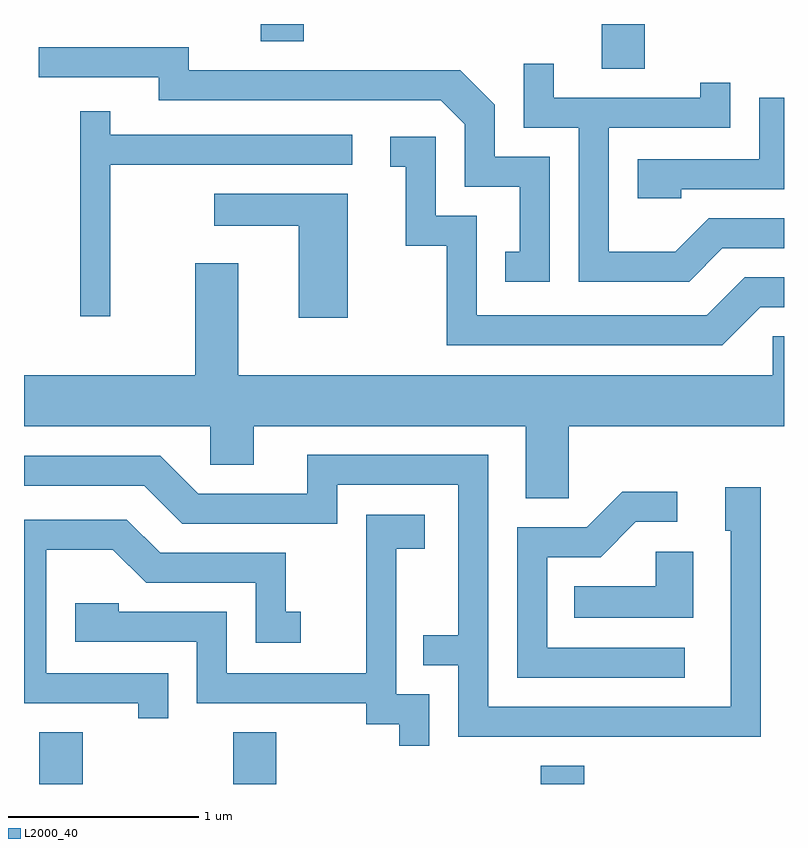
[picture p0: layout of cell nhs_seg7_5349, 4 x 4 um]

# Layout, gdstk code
import gdstk
lib = gdstk.Library(unit=1e-6, precision=1e-09)
def R(c, l, rs):  # rectangles x0, y0, x1, y1
    for r in rs: c.add(gdstk.rectangle(r[:2], r[2:], *l))
def P(c, l, *ps):  # polygons
    for p in ps: c.add(gdstk.Polygon(p, *l))
L2000_40 = (2000, 40)

nhs_seg7_5349 = lib.new_cell('nhs_seg7_5349')
R(nhs_seg7_5349, L2000_40, [(349.691,1670.252,349.919,1670.524), (350.711,1670.252,350.939,1670.524), (352.331,1670.252,352.559,1670.349), (352.651,1674.016,352.879,1674.252), (350.856,1674.161,351.084,1674.252)])
P(nhs_seg7_5349, L2000_40, [(352.379,1673.554),(352.089,1673.554),(352.089,1673.827),(351.907,1674.009),(350.479,1674.009),(350.479,1674.129),(349.688,1674.129),(349.688,1673.971),(350.321,1673.971),(350.321,1673.851),(351.804,1673.851),(351.931,1673.724),(351.931,1673.396),(352.221,1673.396),(352.221,1673.054),(352.143,1673.054),(352.143,1672.896),(352.379,1672.896)],
  [(353.287,1673.071),(353.611,1673.071),(353.611,1673.229),(353.214,1673.229),(353.039,1673.054),(352.689,1673.054),(352.689,1673.706),(353.329,1673.706),(353.329,1673.943),(353.171,1673.943),(353.171,1673.864),(352.399,1673.864),(352.399,1674.043),(352.241,1674.043),(352.241,1673.706),(352.531,1673.706),(352.531,1672.896),(353.112,1672.896)],
  [(353.069,1673.381),(353.611,1673.381),(353.611,1673.864),(353.481,1673.864),(353.481,1673.539),(352.841,1673.539),(352.841,1673.336),(353.069,1673.336)],
  [(350.064,1673.511),(351.338,1673.511),(351.338,1673.669),(350.064,1673.669),(350.064,1673.793),(349.906,1673.793),(349.906,1672.713),(350.064,1672.713)],
  [(353.487,1672.761),(353.611,1672.761),(353.611,1672.919),(353.404,1672.919),(353.204,1672.719),(351.994,1672.719),(351.994,1673.244),(351.779,1673.244),(351.779,1673.659),(351.538,1673.659),(351.538,1673.501),(351.621,1673.501),(351.621,1673.086),(351.836,1673.086),(351.836,1672.561),(353.287,1672.561)],
  [(351.314,1673.359),(350.613,1673.359),(350.613,1673.191),(351.056,1673.191),(351.056,1672.706),(351.314,1672.706)],
  [(350.739,1672.994),(350.511,1672.994),(350.511,1672.404),(349.611,1672.404),(349.611,1672.136),(350.591,1672.136),(350.591,1671.931),(350.819,1671.931),(350.819,1672.136),(352.251,1672.136),(352.251,1671.756),(352.479,1671.756),(352.479,1672.136),(353.611,1672.136),(353.611,1672.609),(353.551,1672.609),(353.551,1672.404),(350.739,1672.404)],
  [(353.489,1671.814),(353.301,1671.814),(353.301,1671.586),(353.331,1671.586),(353.331,1670.659),(352.054,1670.659),(352.054,1671.984),(351.101,1671.984),(351.101,1671.779),(350.527,1671.779),(350.327,1671.979),(349.611,1671.979),(349.611,1671.821),(350.244,1671.821),(350.444,1671.621),(351.259,1671.621),(351.259,1671.826),(351.896,1671.826),(351.896,1671.034),(351.713,1671.034),(351.713,1670.876),(351.896,1670.876),(351.896,1670.501),(353.489,1670.501)],
  [(353.088,1670.969),(352.364,1670.969),(352.364,1671.446),(352.647,1671.446),(352.832,1671.631),(353.048,1671.631),(353.048,1671.789),(352.759,1671.789),(352.574,1671.604),(352.206,1671.604),(352.206,1670.811),(353.088,1670.811)],
  [(351.744,1670.724),(351.569,1670.724),(351.569,1671.491),(351.719,1671.491),(351.719,1671.669),(351.411,1671.669),(351.411,1670.834),(350.679,1670.834),(350.679,1671.159),(350.109,1671.159),(350.109,1671.204),(349.881,1671.204),(349.881,1671.001),(350.521,1671.001),(350.521,1670.676),(351.411,1670.676),(351.411,1670.566),(351.586,1670.566),(351.586,1670.453),(351.744,1670.453)],
  [(350.369,1670.834),(349.729,1670.834),(349.729,1671.486),(350.079,1671.486),(350.254,1671.311),(350.831,1671.311),(350.831,1670.996),(351.068,1670.996),(351.068,1671.159),(350.989,1671.159),(350.989,1671.469),(350.327,1671.469),(350.152,1671.644),(349.611,1671.644),(349.611,1670.676),(350.211,1670.676),(350.211,1670.598),(350.369,1670.598)],
  [(353.134,1671.474),(352.936,1671.474),(352.936,1671.294),(352.508,1671.294),(352.508,1671.126),(353.134,1671.126)])

lib.write_gds('nhs_seg7_5349.gds')
